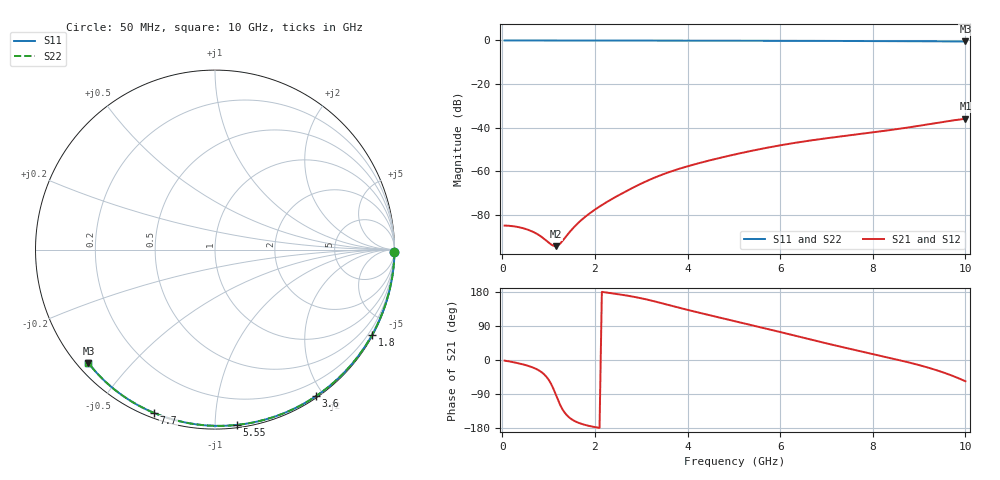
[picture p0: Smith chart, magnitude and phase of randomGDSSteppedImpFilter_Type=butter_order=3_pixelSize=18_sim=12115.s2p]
! freq	dB(S11)	phase(S11)	dB(S12)	phase(S12)
!  dB(S21)	phase(S21)	dB(S22)	phase(S22)
!S-par simulation data
#  GHz  S  DB  R 50
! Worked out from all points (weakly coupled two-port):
!   200 points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, 50 MHz to 10 GHz, reference 50 ohm
!   highest |S21| = -35.98 dB at 10 GHz (marker M1); lowest = -94.5 dB at 1.15 GHz (marker M2)
!   lowest |S11| = -0.5 dB at 10 GHz (marker M3), VSWR 36.56, Z = 1.57 - j19.1 ohm
!   |S11| at or under -10 dB: nowhere
!   |S22| runs from -0.5 to 0.0 dB; largest |S21 - S12| = 0
!   S11 on the Smith chart (normalised r, x): 50 MHz: open; 1.8 GHz: 0.03, -3.95; 3.6 GHz: 0.02, -1.90; 5.55 GHz: 0.02, -1.13; 7.7 GHz: 0.02, -0.69; 10 GHz: 0.03, -0.38
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0.05  -0.00 -0.8  -85.02 -1.7  -85.02 -1.7  -0.00 -0.8
0.6  -0.01 -9.6  -87.31 -17.1  -87.31 -17.1  -0.01 -9.6
1.15  -0.02 -18.3  -94.49 -89.5  -94.49 -89.5  -0.02 -18.3
1.75  -0.04 -27.6  -81.71 -170.0  -81.71 -170.0  -0.04 -27.6
1.8  -0.04 -28.4  -80.84 -171.8  -80.84 -171.8  -0.04 -28.4
1.85  -0.04 -29.2  -80.01 -173.3  -80.01 -173.3  -0.04 -29.2
2.15  -0.04 -33.8  -75.61 179.8  -75.61 179.8  -0.04 -33.8
2.35  -0.05 -36.8  -73.05 176.3  -73.05 176.3  -0.05 -36.8
2.65  -0.05 -41.4  -69.50 170.8  -69.50 170.8  -0.05 -41.4
3.05  -0.06 -47.4  -65.24 161.6  -65.24 161.6  -0.06 -47.4
3.4  -0.07 -52.6  -62.05 151.2  -62.05 151.2  -0.07 -52.6
3.6  -0.07 -55.5  -60.48 144.9  -60.48 144.9  -0.07 -55.5
3.9  -0.08 -59.8  -58.43 135.4  -58.43 135.4  -0.08 -59.8
4.2  -0.09 -64.1  -56.62 126.3  -56.62 126.3  -0.09 -64.1
5.05  -0.12 -76.0  -52.22 101.9  -52.22 101.9  -0.12 -76.0
5.55  -0.14 -82.8  -49.97 87.3  -49.97 87.3  -0.14 -82.8
6.1  -0.16 -90.1  -47.80 70.8  -47.80 70.8  -0.16 -90.1
6.7  -0.19 -97.9  -45.81 52.7  -45.81 52.7  -0.19 -97.9
7.7  -0.25 -110.5  -43.03 24.1  -43.03 24.1  -0.25 -110.5
8.35  -0.30 -118.5  -41.23 6.1  -41.23 6.1  -0.30 -118.5
9.2  -0.38 -128.8  -38.53 -20.3  -38.53 -20.3  -0.38 -128.8
10  -0.48 -138.1  -35.98 -56.0  -35.98 -56.0  -0.48 -138.1
